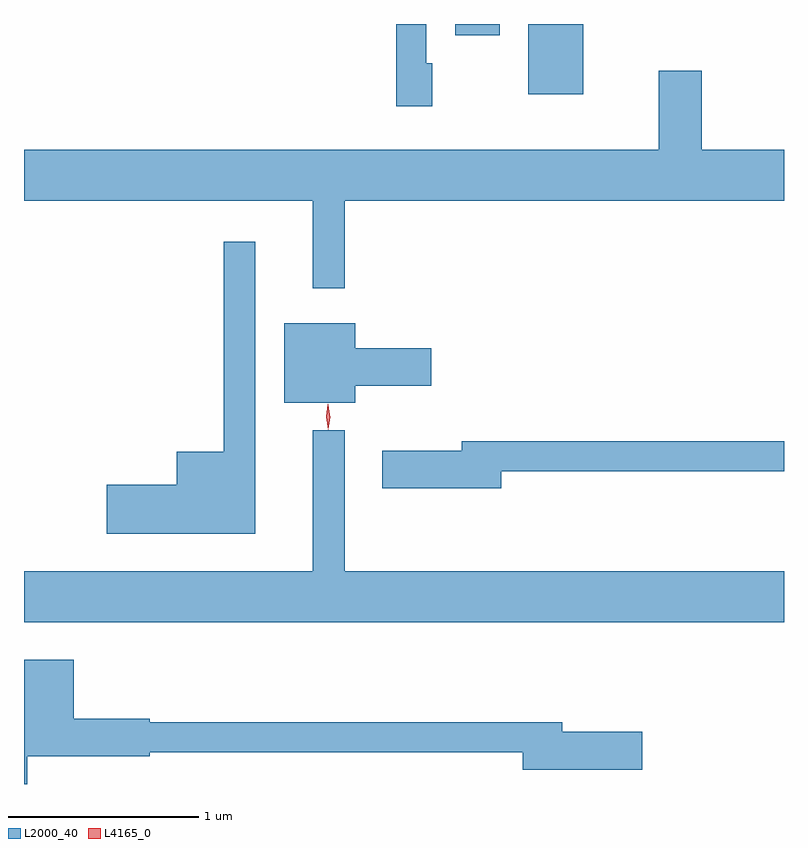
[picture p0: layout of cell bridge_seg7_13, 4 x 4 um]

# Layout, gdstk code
import gdstk
lib = gdstk.Library(unit=1e-6, precision=1e-09)
def R(c, l, rs):  # rectangles x0, y0, x1, y1
    for r in rs: c.add(gdstk.rectangle(r[:2], r[2:], *l))
def P(c, l, *ps):  # polygons
    for p in ps: c.add(gdstk.Polygon(p, *l))
L2000_40 = (2000, 40)
L4165_0 = (4165, 0)

bridge_seg7_13 = lib.new_cell('bridge_seg7_13')
R(bridge_seg7_13, L2000_40, [(1691.966,1770.376,1692.254,1770.745), (1691.581,1770.686,1691.814,1770.745)])
P(bridge_seg7_13, L2000_40, [(1691.459,1770.539),(1691.429,1770.539),(1691.429,1770.745),(1691.271,1770.745),(1691.271,1770.311),(1691.459,1770.311)],
  [(1690.999,1769.816),(1693.311,1769.816),(1693.311,1770.084),(1692.879,1770.084),(1692.879,1770.499),(1692.651,1770.499),(1692.651,1770.084),(1689.311,1770.084),(1689.311,1769.816),(1690.831,1769.816),(1690.831,1769.353),(1690.999,1769.353)],
  [(1690.529,1769.598),(1690.361,1769.598),(1690.361,1768.494),(1690.116,1768.494),(1690.116,1768.319),(1689.746,1768.319),(1689.746,1768.061),(1690.529,1768.061)],
  [(1691.054,1768.841),(1691.454,1768.841),(1691.454,1769.039),(1691.054,1769.039),(1691.054,1769.169),(1690.681,1769.169),(1690.681,1768.751),(1691.054,1768.751)],
  [(1693.311,1767.864),(1690.999,1767.864),(1690.999,1768.608),(1690.831,1768.608),(1690.831,1767.864),(1689.311,1767.864),(1689.311,1767.596),(1693.311,1767.596)],
  [(1691.824,1768.391),(1693.311,1768.391),(1693.311,1768.549),(1691.616,1768.549),(1691.616,1768.499),(1691.196,1768.499),(1691.196,1768.301),(1691.824,1768.301)],
  [(1689.329,1766.891),(1689.974,1766.891),(1689.974,1766.911),(1691.936,1766.911),(1691.936,1766.821),(1692.564,1766.821),(1692.564,1767.019),(1692.144,1767.019),(1692.144,1767.069),(1689.974,1767.069),(1689.974,1767.089),(1689.574,1767.089),(1689.574,1767.399),(1689.311,1767.399),(1689.311,1766.745),(1689.329,1766.745)])
P(bridge_seg7_13, L4165_0, [(1690.912,1768.613),(1690.912,1768.613),(1690.902,1768.676),(1690.91,1768.739),(1690.911,1768.74),(1690.911,1768.739),(1690.922,1768.676),(1690.913,1768.613)],
  [(1690.912,1768.609),(1690.912,1768.61),(1690.902,1768.677),(1690.91,1768.745),(1690.911,1768.745),(1690.911,1768.745),(1690.921,1768.678),(1690.913,1768.61)])

lib.write_gds('bridge_seg7_13.gds')
